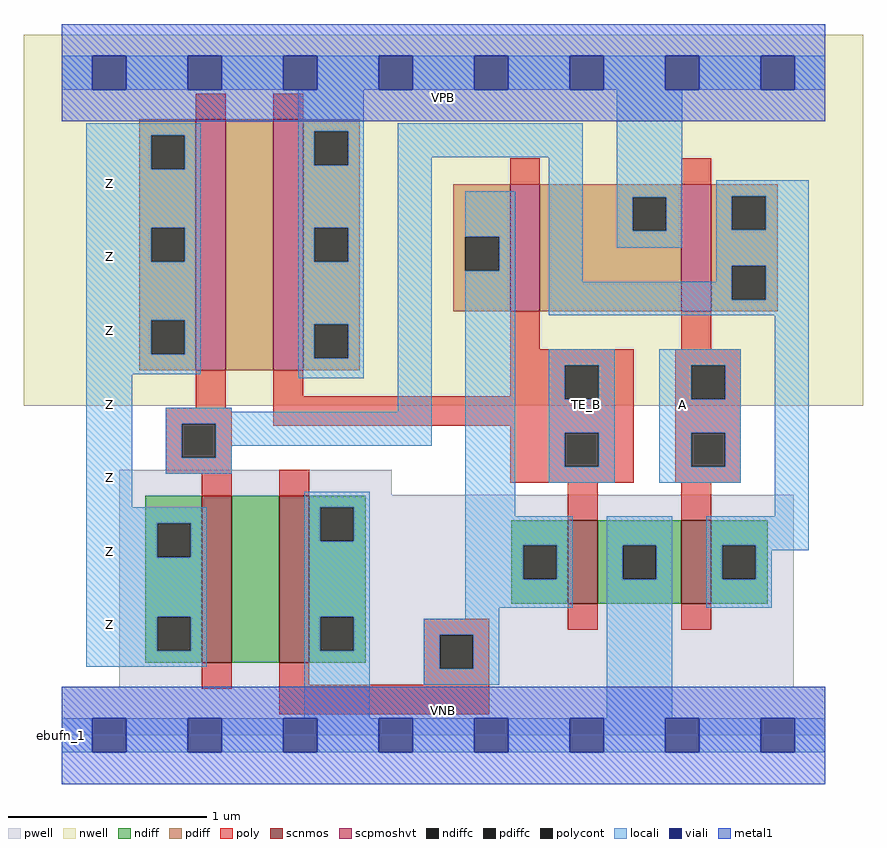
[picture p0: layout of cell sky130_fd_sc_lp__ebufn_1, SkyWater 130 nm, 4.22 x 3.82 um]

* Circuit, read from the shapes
.subckt sky130_fd_sc_lp__ebufn_1 A TE_B VGND VNB VPB VPWR Z
XM1 n1 n2 Z VNB sky130_fd_pr__nfet_01v8 w=0.84 l=0.15
XM2 VGND n3 n1 VNB sky130_fd_pr__nfet_01v8 w=0.84 l=0.15
XM3 VGND TE_B n3 VNB sky130_fd_pr__nfet_01v8 w=0.42 l=0.15
XM4 n2 A VGND VNB sky130_fd_pr__nfet_01v8 w=0.42 l=0.15
XM5 n4 n2 Z VPB sky130_fd_pr__pfet_01v8_hvt w=1.26 l=0.15
XM6 VPWR TE_B n4 VPB sky130_fd_pr__pfet_01v8_hvt w=1.26 l=0.15
XM7 VPWR TE_B n3 VPB sky130_fd_pr__pfet_01v8_hvt w=0.64 l=0.15
XM8 n2 A VPWR VPB sky130_fd_pr__pfet_01v8_hvt w=0.64 l=0.15
.ends

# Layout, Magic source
magic
tech sky130A
magscale 1 2
<< nwell >>
rect -38 331 806 704
<< pwell >>
rect 58 242 332 267
rect 58 49 736 242
rect 0 0 768 49
<< scnmos >>
rect 141 73 171 241
rect 219 73 249 241
rect 509 132 539 216
rect 623 132 653 216
<< scpmoshvt >>
rect 135 367 165 619
rect 213 367 243 619
rect 451 426 481 554
rect 623 426 653 554
<< ndiff >>
rect 84 213 141 241
rect 84 179 96 213
rect 130 179 141 213
rect 84 119 141 179
rect 84 85 96 119
rect 130 85 141 119
rect 84 73 141 85
rect 171 73 219 241
rect 249 229 306 241
rect 249 195 260 229
rect 294 195 306 229
rect 249 119 306 195
rect 452 191 509 216
rect 452 157 464 191
rect 498 157 509 191
rect 452 132 509 157
rect 539 191 623 216
rect 539 157 564 191
rect 598 157 623 191
rect 539 132 623 157
rect 653 191 710 216
rect 653 157 664 191
rect 698 157 710 191
rect 653 132 710 157
rect 249 85 260 119
rect 294 85 306 119
rect 249 73 306 85
<< pdiff >>
rect 78 603 135 619
rect 78 569 90 603
rect 124 569 135 603
rect 78 510 135 569
rect 78 476 90 510
rect 124 476 135 510
rect 78 417 135 476
rect 78 383 90 417
rect 124 383 135 417
rect 78 367 135 383
rect 165 367 213 619
rect 243 607 300 619
rect 243 573 254 607
rect 288 573 300 607
rect 243 510 300 573
rect 243 476 254 510
rect 288 476 300 510
rect 243 413 300 476
rect 394 501 451 554
rect 394 467 406 501
rect 440 467 451 501
rect 394 426 451 467
rect 481 541 623 554
rect 481 507 574 541
rect 608 507 623 541
rect 481 426 623 507
rect 653 542 720 554
rect 653 508 674 542
rect 708 508 720 542
rect 653 472 720 508
rect 653 438 674 472
rect 708 438 720 472
rect 653 426 720 438
rect 243 379 254 413
rect 288 379 300 413
rect 243 367 300 379
<< ndiffc >>
rect 96 179 130 213
rect 96 85 130 119
rect 260 195 294 229
rect 464 157 498 191
rect 564 157 598 191
rect 664 157 698 191
rect 260 85 294 119
<< pdiffc >>
rect 90 569 124 603
rect 90 476 124 510
rect 90 383 124 417
rect 254 573 288 607
rect 254 476 288 510
rect 406 467 440 501
rect 574 507 608 541
rect 674 508 708 542
rect 674 438 708 472
rect 254 379 288 413
<< poly >>
rect 135 619 165 645
rect 213 619 243 645
rect 451 554 481 580
rect 623 554 653 580
rect 451 388 481 426
rect 623 388 653 426
rect 451 372 575 388
rect 135 329 165 367
rect 213 341 243 367
rect 451 341 506 372
rect 213 338 506 341
rect 540 338 575 372
rect 105 313 171 329
rect 105 279 121 313
rect 155 279 171 313
rect 213 311 575 338
rect 105 263 171 279
rect 451 304 575 311
rect 451 270 506 304
rect 540 270 575 304
rect 141 241 171 263
rect 219 241 249 267
rect 451 254 575 270
rect 617 372 683 388
rect 617 338 633 372
rect 667 338 683 372
rect 617 304 683 338
rect 617 270 633 304
rect 667 270 683 304
rect 617 254 683 270
rect 509 216 539 254
rect 623 216 653 254
rect 364 101 430 117
rect 509 106 539 132
rect 623 106 653 132
rect 141 47 171 73
rect 219 51 249 73
rect 364 67 380 101
rect 414 67 430 101
rect 364 51 430 67
rect 219 21 430 51
<< polycont >>
rect 506 338 540 372
rect 121 279 155 313
rect 506 270 540 304
rect 633 338 667 372
rect 633 270 667 304
rect 380 67 414 101
<< locali >>
rect 0 649 31 683
rect 65 649 127 683
rect 161 649 223 683
rect 257 649 319 683
rect 353 649 415 683
rect 449 649 511 683
rect 545 649 607 683
rect 641 649 703 683
rect 737 649 768 683
rect 25 603 140 615
rect 25 569 90 603
rect 124 569 140 603
rect 25 510 140 569
rect 25 476 90 510
rect 124 476 140 510
rect 25 417 140 476
rect 25 383 90 417
rect 124 383 140 417
rect 25 363 140 383
rect 238 607 304 649
rect 238 573 254 607
rect 288 573 304 607
rect 238 510 304 573
rect 238 476 254 510
rect 288 476 304 510
rect 238 413 304 476
rect 238 379 254 413
rect 288 379 304 413
rect 25 229 71 363
rect 238 359 304 379
rect 338 581 524 615
rect 105 325 171 329
rect 338 325 372 581
rect 105 313 372 325
rect 105 279 121 313
rect 155 291 372 313
rect 406 501 456 547
rect 440 467 456 501
rect 155 279 171 291
rect 105 263 171 279
rect 244 229 310 245
rect 25 213 146 229
rect 25 179 96 213
rect 130 179 146 213
rect 25 119 146 179
rect 25 85 96 119
rect 130 85 146 119
rect 25 69 146 85
rect 244 195 260 229
rect 294 195 310 229
rect 244 119 310 195
rect 244 85 260 119
rect 294 85 310 119
rect 406 220 456 467
rect 490 456 524 581
rect 558 541 624 649
rect 558 507 574 541
rect 608 507 624 541
rect 558 490 624 507
rect 658 542 751 558
rect 658 508 674 542
rect 708 508 751 542
rect 658 472 751 508
rect 658 456 674 472
rect 490 438 674 456
rect 708 438 751 472
rect 490 422 751 438
rect 490 372 556 388
rect 490 338 506 372
rect 540 338 556 372
rect 490 304 556 338
rect 490 270 506 304
rect 540 270 556 304
rect 490 254 556 270
rect 601 372 683 388
rect 601 338 633 372
rect 667 338 683 372
rect 601 304 683 338
rect 601 270 633 304
rect 667 270 683 304
rect 601 254 683 270
rect 717 220 751 422
rect 406 191 514 220
rect 406 157 464 191
rect 498 157 514 191
rect 406 128 514 157
rect 548 191 614 220
rect 548 157 564 191
rect 598 157 614 191
rect 406 117 440 128
rect 244 17 310 85
rect 364 101 440 117
rect 364 67 380 101
rect 414 67 440 101
rect 364 51 440 67
rect 548 17 614 157
rect 648 191 751 220
rect 648 157 664 191
rect 698 186 751 191
rect 698 157 714 186
rect 648 128 714 157
rect 0 -17 31 17
rect 65 -17 127 17
rect 161 -17 223 17
rect 257 -17 319 17
rect 353 -17 415 17
rect 449 -17 511 17
rect 545 -17 607 17
rect 641 -17 703 17
rect 737 -17 768 17
<< viali >>
rect 31 649 65 683
rect 127 649 161 683
rect 223 649 257 683
rect 319 649 353 683
rect 415 649 449 683
rect 511 649 545 683
rect 607 649 641 683
rect 703 649 737 683
rect 31 -17 65 17
rect 127 -17 161 17
rect 223 -17 257 17
rect 319 -17 353 17
rect 415 -17 449 17
rect 511 -17 545 17
rect 607 -17 641 17
rect 703 -17 737 17
<< metal1 >>
rect 0 683 768 715
rect 0 649 31 683
rect 65 649 127 683
rect 161 649 223 683
rect 257 649 319 683
rect 353 649 415 683
rect 449 649 511 683
rect 545 649 607 683
rect 641 649 703 683
rect 737 649 768 683
rect 0 617 768 649
rect 0 17 768 49
rect 0 -17 31 17
rect 65 -17 127 17
rect 161 -17 223 17
rect 257 -17 319 17
rect 353 -17 415 17
rect 449 -17 511 17
rect 545 -17 607 17
rect 641 -17 703 17
rect 737 -17 768 17
rect 0 -49 768 -17
<< labels >>
flabel pwell s 0 0 768 49 0 FreeSans 200 0 0 0 VNB
port 4 nsew ground bidirectional
flabel nwell s 0 617 768 666 0 FreeSans 200 0 0 0 VPB
port 5 nsew power bidirectional
rlabel comment s 0 0 0 0 4 ebufn_1
flabel metal1 s 0 617 768 666 0 FreeSans 340 0 0 0 VPWR
port 6 nsew power bidirectional
flabel metal1 s 0 0 768 49 0 FreeSans 340 0 0 0 VGND
port 3 nsew ground bidirectional
flabel locali s 511 316 545 350 0 FreeSans 340 0 0 0 TE_B
port 2 nsew signal input
flabel locali s 607 316 641 350 0 FreeSans 340 0 0 0 A
port 1 nsew signal input
flabel locali s 31 94 65 128 0 FreeSans 340 0 0 0 Z
port 7 nsew signal output
flabel locali s 31 168 65 202 0 FreeSans 340 0 0 0 Z
port 7 nsew signal output
flabel locali s 31 242 65 276 0 FreeSans 340 0 0 0 Z
port 7 nsew signal output
flabel locali s 31 316 65 350 0 FreeSans 340 0 0 0 Z
port 7 nsew signal output
flabel locali s 31 390 65 424 0 FreeSans 340 0 0 0 Z
port 7 nsew signal output
flabel locali s 31 464 65 498 0 FreeSans 340 0 0 0 Z
port 7 nsew signal output
flabel locali s 31 538 65 572 0 FreeSans 340 0 0 0 Z
port 7 nsew signal output
<< properties >>
string LEFsite unit
string LEFclass CORE
string FIXED_BBOX 0 0 768 666
string GDS_FILE $PDKPATH/libs.ref/sky130_fd_sc_lp/gds/sky130_fd_sc_lp.gds
string LEFsymmetry X Y R90
string GDS_END 3338648
string GDS_START 3332026
<< end >>
